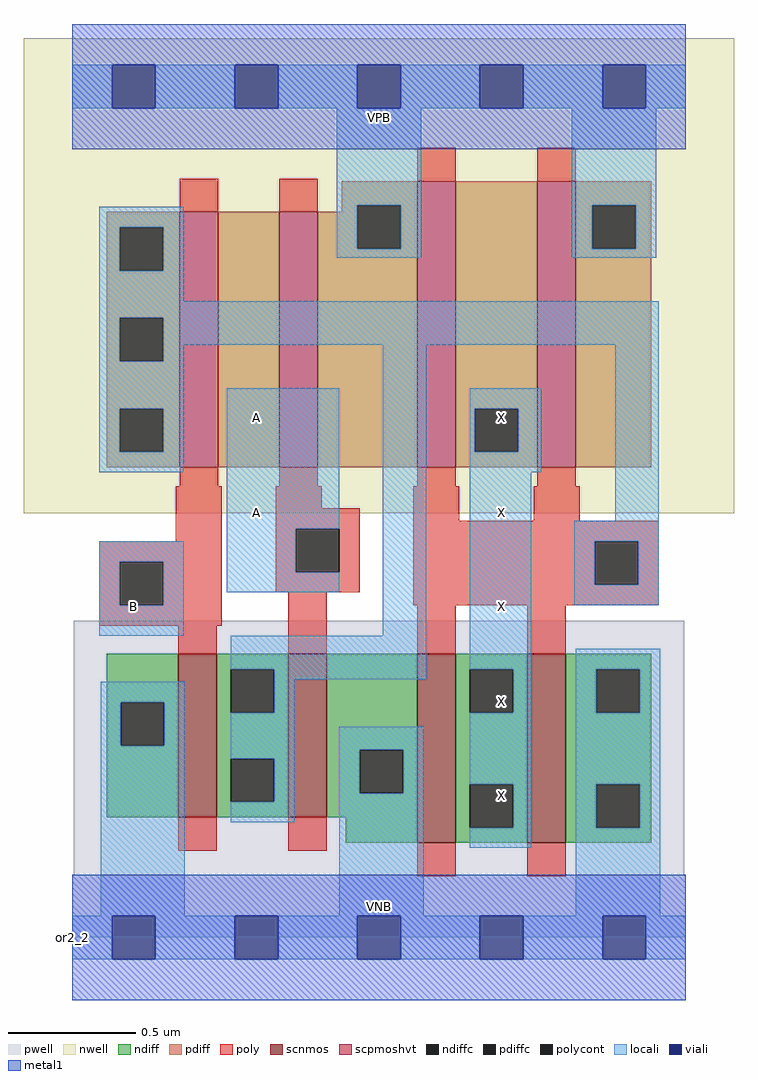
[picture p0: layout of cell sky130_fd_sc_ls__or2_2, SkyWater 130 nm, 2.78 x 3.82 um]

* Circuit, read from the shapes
.subckt sky130_fd_sc_ls__or2_2 A B VGND VNB VPB VPWR X
XM1 n1 B VGND VNB sky130_fd_pr__nfet_01v8 w=0.64 l=0.15
XM2 VGND A n1 VNB sky130_fd_pr__nfet_01v8 w=0.64 l=0.15
XM3 X n1 VGND VNB sky130_fd_pr__nfet_01v8 w=0.74 l=0.15 m=2
XM4 n2 B n1 VPB sky130_fd_pr__pfet_01v8_hvt w=1 l=0.15
XM5 VPWR A n2 VPB sky130_fd_pr__pfet_01v8_hvt w=1 l=0.15
XM6 X n1 VPWR VPB sky130_fd_pr__pfet_01v8_hvt w=1.12 l=0.15 m=2
.ends

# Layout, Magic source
magic
tech sky130A
magscale 1 2
<< nwell >>
rect -38 332 518 704
<< pwell >>
rect 1 49 479 248
rect 0 0 480 49
<< scnmos >>
rect 83 94 113 222
rect 169 94 199 222
rect 270 74 300 222
rect 356 74 386 222
<< scpmoshvt >>
rect 84 368 114 568
rect 162 368 192 568
rect 270 368 300 592
rect 364 368 394 592
<< ndiff >>
rect 27 184 83 222
rect 27 150 38 184
rect 72 150 83 184
rect 27 94 83 150
rect 113 210 169 222
rect 113 176 124 210
rect 158 176 169 210
rect 113 140 169 176
rect 113 106 124 140
rect 158 106 169 140
rect 113 94 169 106
rect 199 147 270 222
rect 199 113 225 147
rect 259 113 270 147
rect 199 94 270 113
rect 214 74 270 94
rect 300 210 356 222
rect 300 176 311 210
rect 345 176 356 210
rect 300 120 356 176
rect 300 86 311 120
rect 345 86 356 120
rect 300 74 356 86
rect 386 210 453 222
rect 386 176 410 210
rect 444 176 453 210
rect 386 120 453 176
rect 386 86 410 120
rect 444 86 453 120
rect 386 74 453 86
<< pdiff >>
rect 211 573 270 592
rect 211 568 223 573
rect 27 556 84 568
rect 27 522 37 556
rect 71 522 84 556
rect 27 485 84 522
rect 27 451 37 485
rect 71 451 84 485
rect 27 414 84 451
rect 27 380 37 414
rect 71 380 84 414
rect 27 368 84 380
rect 114 368 162 568
rect 192 539 223 568
rect 257 539 270 573
rect 192 368 270 539
rect 300 414 364 592
rect 300 380 315 414
rect 349 380 364 414
rect 300 368 364 380
rect 394 573 453 592
rect 394 539 407 573
rect 441 539 453 573
rect 394 368 453 539
<< ndiffc >>
rect 38 150 72 184
rect 124 176 158 210
rect 124 106 158 140
rect 225 113 259 147
rect 311 176 345 210
rect 311 86 345 120
rect 410 176 444 210
rect 410 86 444 120
<< pdiffc >>
rect 37 522 71 556
rect 37 451 71 485
rect 37 380 71 414
rect 223 539 257 573
rect 315 380 349 414
rect 407 539 441 573
<< poly >>
rect 84 568 114 594
rect 162 568 192 594
rect 270 592 300 618
rect 364 592 394 618
rect 84 353 114 368
rect 162 353 192 368
rect 270 353 300 368
rect 364 353 394 368
rect 81 310 117 353
rect 21 294 117 310
rect 21 260 37 294
rect 71 260 117 294
rect 159 336 195 353
rect 159 320 225 336
rect 159 286 175 320
rect 209 286 225 320
rect 159 270 225 286
rect 267 326 303 353
rect 361 326 397 353
rect 267 310 459 326
rect 267 276 409 310
rect 443 276 459 310
rect 21 244 117 260
rect 83 222 113 244
rect 169 222 199 270
rect 267 260 459 276
rect 270 222 300 260
rect 356 222 386 260
rect 83 68 113 94
rect 169 68 199 94
rect 270 48 300 74
rect 356 48 386 74
<< polycont >>
rect 37 260 71 294
rect 175 286 209 320
rect 409 276 443 310
<< locali >>
rect 0 649 31 683
rect 65 649 127 683
rect 161 649 223 683
rect 257 649 319 683
rect 353 649 415 683
rect 449 649 480 683
rect 207 573 273 649
rect 21 556 87 572
rect 21 522 37 556
rect 71 522 87 556
rect 207 539 223 573
rect 257 539 273 573
rect 207 532 273 539
rect 391 573 457 649
rect 391 539 407 573
rect 441 539 457 573
rect 391 532 457 539
rect 21 498 87 522
rect 21 485 459 498
rect 21 451 37 485
rect 71 464 459 485
rect 71 451 87 464
rect 21 414 87 451
rect 21 380 37 414
rect 71 380 87 414
rect 21 364 87 380
rect 121 320 209 430
rect 21 294 87 310
rect 21 260 37 294
rect 71 260 87 294
rect 121 286 175 320
rect 121 270 209 286
rect 21 236 87 260
rect 243 236 277 464
rect 124 210 277 236
rect 22 184 88 200
rect 22 150 38 184
rect 72 150 88 184
rect 22 17 88 150
rect 158 202 277 210
rect 311 414 367 430
rect 311 380 315 414
rect 349 380 367 414
rect 311 364 367 380
rect 311 210 359 364
rect 425 326 459 464
rect 393 310 459 326
rect 393 276 409 310
rect 443 276 459 310
rect 393 260 459 276
rect 158 176 174 202
rect 124 140 174 176
rect 345 176 359 210
rect 158 106 174 140
rect 124 90 174 106
rect 209 147 275 165
rect 209 113 225 147
rect 259 113 275 147
rect 209 17 275 113
rect 311 120 359 176
rect 345 86 359 120
rect 311 70 359 86
rect 394 210 460 226
rect 394 176 410 210
rect 444 176 460 210
rect 394 120 460 176
rect 394 86 410 120
rect 444 86 460 120
rect 394 17 460 86
rect 0 -17 31 17
rect 65 -17 127 17
rect 161 -17 223 17
rect 257 -17 319 17
rect 353 -17 415 17
rect 449 -17 480 17
<< viali >>
rect 31 649 65 683
rect 127 649 161 683
rect 223 649 257 683
rect 319 649 353 683
rect 415 649 449 683
rect 31 -17 65 17
rect 127 -17 161 17
rect 223 -17 257 17
rect 319 -17 353 17
rect 415 -17 449 17
<< metal1 >>
rect 0 683 480 715
rect 0 649 31 683
rect 65 649 127 683
rect 161 649 223 683
rect 257 649 319 683
rect 353 649 415 683
rect 449 649 480 683
rect 0 617 480 649
rect 0 17 480 49
rect 0 -17 31 17
rect 65 -17 127 17
rect 161 -17 223 17
rect 257 -17 319 17
rect 353 -17 415 17
rect 449 -17 480 17
rect 0 -49 480 -17
<< labels >>
rlabel comment s 0 0 0 0 4 or2_2
flabel pwell s 0 0 480 49 0 FreeSans 200 0 0 0 VNB
port 4 nsew ground bidirectional
flabel nwell s 0 617 480 666 0 FreeSans 200 0 0 0 VPB
port 5 nsew power bidirectional
flabel metal1 s 0 617 480 666 0 FreeSans 340 0 0 0 VPWR
port 6 nsew power bidirectional abutment
flabel metal1 s 0 0 480 49 0 FreeSans 340 0 0 0 VGND
port 3 nsew ground bidirectional abutment
flabel locali s 319 94 353 128 0 FreeSans 340 0 0 0 X
port 7 nsew signal output
flabel locali s 319 168 353 202 0 FreeSans 340 0 0 0 X
port 7 nsew signal output
flabel locali s 319 242 353 276 0 FreeSans 340 0 0 0 X
port 7 nsew signal output
flabel locali s 319 316 353 350 0 FreeSans 340 0 0 0 X
port 7 nsew signal output
flabel locali s 319 390 353 424 0 FreeSans 340 0 0 0 X
port 7 nsew signal output
flabel locali s 31 242 65 276 0 FreeSans 340 0 0 0 B
port 2 nsew signal input
flabel locali s 127 316 161 350 0 FreeSans 340 0 0 0 A
port 1 nsew signal input
flabel locali s 127 390 161 424 0 FreeSans 340 0 0 0 A
port 1 nsew signal input
<< properties >>
string LEFsite unit
string LEFclass CORE
string FIXED_BBOX 0 0 480 666
string GDS_FILE $PDKPATH/libs.ref/sky130_fd_sc_ls/gds/sky130_fd_sc_ls.gds
string LEFsymmetry X Y
string GDS_END 4069422
string GDS_START 4064098
<< end >>
